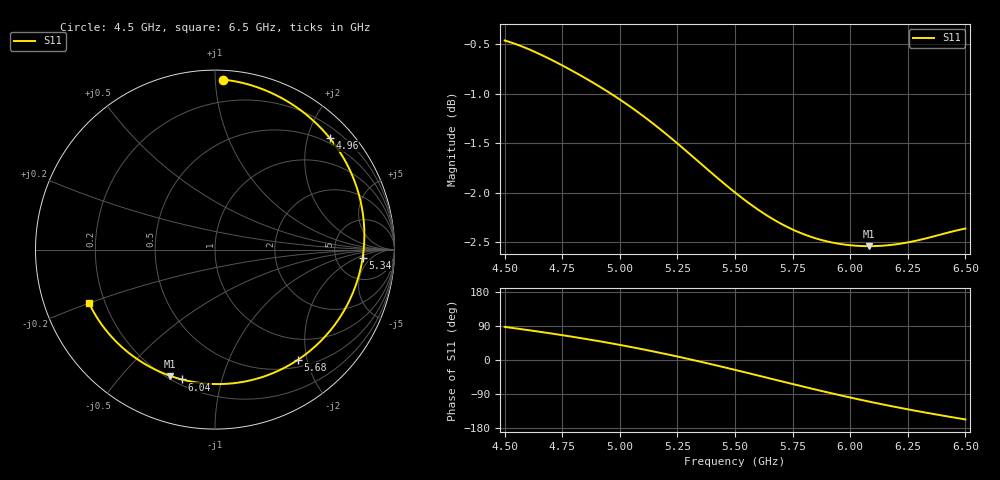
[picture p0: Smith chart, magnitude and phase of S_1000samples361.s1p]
! TOUCHSTONE file generated by CST MICROWAVE STUDIO
! Date and time: Thu Oct 27 21:55:19 2022
! Project name: L.cst
! Parameters = {Di=1.27; Epsilon_r=1.56; InnerDiameter=1.27; Length=2; Lf=10; Lg=60; OuterConductorThickness=0.2921; OuterDiameter=3.6; Wf=3; Wp=41.2; de=1.5; df=6.8; g=0.8; gx=4.39485; gy=2.21614; h=2.34; hf=1.524; px=11.7048; py=9.5275; w=9.7; wx=7.30992; wy=7.31137}
! Header version: 2018
! Port assignment regex: !\s*Touchstone port\s*([0-9]+)\s*=\s*(CST MWS port|CST DS port)\s*([0-9]+|Zmin|Zmax)\s*\(\"(.*)\"\)(\s*mode\s*([0-9]+))?.*
! Touchstone port assignment:
! Touchstone port 1 = CST MWS port 1 ("")
# GHz S DB R 50
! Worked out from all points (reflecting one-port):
!   101 points, 4.5 GHz to 6.5 GHz, reference 50 ohm
!   lowest |S11| = -2.5 dB at 6.08 GHz (marker M1), VSWR 6.89, Z = 10.8 - j34.2 ohm
!   phase of S11 starts at 87 deg and turns -244 deg over the sweep
!   S11 on the Smith chart (normalised r, x): 4.5 GHz: 0.06, +1.05; 4.96 GHz: 0.40, +2.40; 5.34 GHz: 9.61, -2.68; 5.68 GHz: 0.62, -1.85; 6.04 GHz: 0.23, -0.75; 6.5 GHz: 0.14, -0.20
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4.5  -0.46 87.4
4.58  -0.52 80.7
4.64  -0.58 75.5
4.76  -0.72 64.6
4.86  -0.85 54.8
4.96  -1.00 44.3
5  -1.06 39.8
5.08  -1.19 30.6
5.14  -1.29 23.3
5.2  -1.40 15.7
5.26  -1.52 7.8
5.34  -1.68 -3.1
5.42  -1.84 -14.4
5.5  -2.00 -26.1
5.54  -2.07 -32.0
5.6  -2.17 -40.9
5.68  -2.29 -52.9
5.76  -2.38 -64.8
5.82  -2.44 -73.7
5.88  -2.48 -82.3
5.94  -2.51 -90.8
6  -2.53 -99.0
6.04  -2.54 -104.3
6.08  -2.54 -109.5
6.18  -2.53 -121.9
6.26  -2.50 -131.3
6.38  -2.43 -144.5
6.5  -2.36 -156.8
